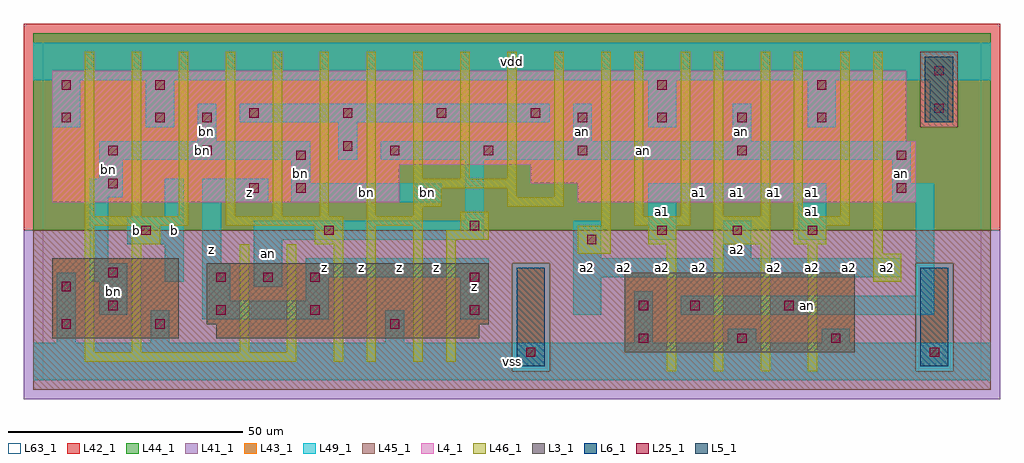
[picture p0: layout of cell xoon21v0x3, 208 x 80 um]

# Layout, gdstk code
import gdstk
lib = gdstk.Library(unit=1e-6, precision=1e-09)
def R(c, l, rs):  # rectangles x0, y0, x1, y1
    for r in rs: c.add(gdstk.rectangle(r[:2], r[2:], *l))
def A(c, l, x, y, w, h, nx, ny, dx, dy):  # array of equal rectangles
    R(c, l, [(x+i*dx, y+j*dy, x+i*dx+w, y+j*dy+h) for i in range(nx) for j in range(ny)])
L3_1 = (3, 1)
L4_1 = (4, 1)
L5_1 = (5, 1)
L6_1 = (6, 1)
L25_1 = (25, 1)
L41_1 = (41, 1)
L42_1 = (42, 1)
L43_1 = (43, 1)
L44_1 = (44, 1)
L45_1 = (45, 1)
L46_1 = (46, 1)
L49_1 = (49, 1)
L63_1 = (63, 1)

xoon21v0x3 = lib.new_cell('xoon21v0x3')
R(xoon21v0x3, L3_1, [(124,6,173,23), (2,9,29,26), (37,9,93,12), (35,12,95,25)])
R(xoon21v0x3, L4_1, [(2,38,76,46), (114,38,186,42), (104,42,186,46), (2,46,186,51), (2,51,184,66)])
R(xoon21v0x3, L5_1, [(188,55,194,69)])
R(xoon21v0x3, L6_1, [(101,3,107,24), (101,3,107,24), (187,3,193,24), (187,3,193,24)])
A(xoon21v0x3, L25_1, 37, 21, 2, 2, 3, 1, 10, 0)
A(xoon21v0x3, L25_1, 131, 31, 2, 2, 3, 1, 16, 0)
A(xoon21v0x3, L25_1, 74, 48, 2, 2, 3, 1, 20, 0)
A(xoon21v0x3, L25_1, 114, 55, 2, 2, 4, 1, 17, 0)
A(xoon21v0x3, L25_1, 44, 56, 2, 2, 4, 1, 20, 0)
R(xoon21v0x3, L25_1, [(103,5,105,7), (189,5,191,7), (127,8,129,10), (148,8,150,10), (168,8,170,10), (4,11,6,13), (24,11,26,13), (74,11,76,13), (37,14,39,16), (57,14,59,16), (91,14,93,16), (14,15,16,17), (127,15,129,17), (138,15,140,17), (158,15,160,17), (4,19,6,21), (91,21,93,23), (14,22,16,24), (179,23,181,25), (116,29,118,31), (21,31,23,33), (60,31,62,33), (91,32,93,34), (81,39,83,41), (44,40,46,42), (54,40,56,42), (182,40,184,42), (14,41,16,43), (54,47,56,49), (182,47,184,49), (14,48,16,50), (34,48,36,50), (148,48,150,50), (64,49,66,51), (4,55,6,57), (24,55,26,57), (34,55,36,57), (190,57,192,59), (4,62,6,64), (24,62,26,64), (131,62,133,64), (165,62,167,64), (190,65,192,67)])
R(xoon21v0x3, L41_1, [(-4,-4,204,32)])
R(xoon21v0x3, L42_1, [(-4,32,204,76)])
R(xoon21v0x3, L43_1, [(101,3,107,24), (187,3,193,24), (124,6,173,23), (2,9,29,26), (37,9,93,12), (35,12,95,25), (2,38,76,46), (114,38,186,42), (104,42,186,46), (2,46,186,51), (2,51,184,66), (188,55,194,69)])
R(xoon21v0x3, L44_1, [(100,2,108,25), (186,2,194,25), (-2,32,202,54), (-2,54,187,70), (195,54,202,70), (-2,70,202,74)])
R(xoon21v0x3, L45_1, [(-2,-2,202,2), (-2,2,100,25), (108,2,186,25), (194,2,202,25), (-2,25,202,32), (187,54,195,70)])
A(xoon21v0x3, L46_1, 133, 2, 2, 27, 4, 1, 10, 0)
A(xoon21v0x3, L46_1, 9, 35, 2, 35, 7, 1, 10, 0)
A(xoon21v0x3, L46_1, 79, 43, 2, 27, 3, 1, 10, 0)
R(xoon21v0x3, L46_1, [(9,4,54,6), (62,4,64,29), (69,4,71,33), (79,4,81,33), (86,4,88,30), (9,6,11,33), (19,6,21,29), (42,6,44,29), (52,6,54,29), (177,21,183,27), (114,27,121,33), (177,27,179,70), (19,29,25,33), (58,29,64,33), (129,29,135,33), (143,29,155,35), (160,29,167,33), (86,30,95,32), (89,32,95,36), (9,33,31,35), (39,33,64,35), (69,33,81,35), (119,33,121,70), (126,33,138,35), (160,33,172,35), (79,35,81,37), (126,35,128,70), (136,35,138,70), (143,35,145,70), (153,35,155,70), (160,35,162,70), (170,35,172,70), (79,37,85,41), (99,37,111,39), (99,39,101,41), (109,39,111,70), (79,41,101,43)])
R(xoon21v0x3, L49_1, [(-2,0,202,8), (3,8,7,23), (23,8,27,15), (73,8,77,15), (126,8,130,19), (146,8,152,11), (166,8,172,11), (34,13,61,17), (89,13,95,22), (12,14,18,21), (113,14,119,22), (136,14,190,18), (34,17,40,25), (56,17,61,22), (186,18,190,38), (45,20,51,30), (10,21,18,25), (26,21,30,29), (56,22,95,26), (113,22,183,26), (10,25,14,39), (34,25,38,38), (113,26,119,34), (145,26,151,34), (18,29,30,35), (45,30,94,34), (129,30,135,38), (161,30,167,38), (90,34,94,47), (26,35,30,43), (34,38,48,43), (53,38,85,42), (129,38,167,42), (181,38,190,42), (10,39,17,43), (53,42,57,47), (181,42,185,47), (12,43,17,47), (12,47,57,51), (63,47,67,55), (72,47,185,51), (33,51,37,59), (113,51,117,59), (147,51,151,59), (2,54,8,64), (22,54,28,64), (129,54,135,64), (163,54,169,64), (42,55,108,59), (189,55,193,64), (-2,64,202,72)])
R(xoon21v0x3, L63_1, [(0,0,200,72)])
xoon21v0x3.add(gdstk.Label('bn', (82,40), layer=49, texttype=1))
xoon21v0x3.add(gdstk.Label('bn', (15,19), layer=49, texttype=1))
xoon21v0x3.add(gdstk.Label('b', (20,32), layer=49, texttype=1))
xoon21v0x3.add(gdstk.Label('b', (28,32), layer=49, texttype=1))
xoon21v0x3.add(gdstk.Label('bn', (14,45), layer=49, texttype=1))
xoon21v0x3.add(gdstk.Label('bn', (35,53), layer=49, texttype=1))
xoon21v0x3.add(gdstk.Label('z', (60,24), layer=49, texttype=1))
xoon21v0x3.add(gdstk.Label('z', (68,24), layer=49, texttype=1))
xoon21v0x3.add(gdstk.Label('z', (76,24), layer=49, texttype=1))
xoon21v0x3.add(gdstk.Label('an', (48,27), layer=49, texttype=1))
xoon21v0x3.add(gdstk.Label('z', (36,28), layer=49, texttype=1))
xoon21v0x3.add(gdstk.Label('z', (44,40), layer=49, texttype=1))
xoon21v0x3.add(gdstk.Label('bn', (55,44), layer=49, texttype=1))
xoon21v0x3.add(gdstk.Label('bn', (34,49), layer=49, texttype=1))
xoon21v0x3.add(gdstk.Label('vss', (100,4), layer=49, texttype=1))
xoon21v0x3.add(gdstk.Label('a2', (116,24), layer=49, texttype=1))
xoon21v0x3.add(gdstk.Label('z', (84,24), layer=49, texttype=1))
xoon21v0x3.add(gdstk.Label('z', (92,20), layer=49, texttype=1))
xoon21v0x3.add(gdstk.Label('bn', (69,40), layer=49, texttype=1))
xoon21v0x3.add(gdstk.Label('an', (115,53), layer=49, texttype=1))
xoon21v0x3.add(gdstk.Label('vdd', (100,68), layer=49, texttype=1))
xoon21v0x3.add(gdstk.Label('a2', (124,24), layer=49, texttype=1))
xoon21v0x3.add(gdstk.Label('a2', (132,24), layer=49, texttype=1))
xoon21v0x3.add(gdstk.Label('a2', (140,24), layer=49, texttype=1))
xoon21v0x3.add(gdstk.Label('a2', (156,24), layer=49, texttype=1))
xoon21v0x3.add(gdstk.Label('a2', (148,28), layer=49, texttype=1))
xoon21v0x3.add(gdstk.Label('a1', (140,40), layer=49, texttype=1))
xoon21v0x3.add(gdstk.Label('a1', (148,40), layer=49, texttype=1))
xoon21v0x3.add(gdstk.Label('a1', (156,40), layer=49, texttype=1))
xoon21v0x3.add(gdstk.Label('a1', (132,36), layer=49, texttype=1))
xoon21v0x3.add(gdstk.Label('an', (149,53), layer=49, texttype=1))
xoon21v0x3.add(gdstk.Label('an', (163,16), layer=49, texttype=1))
xoon21v0x3.add(gdstk.Label('a2', (164,24), layer=49, texttype=1))
xoon21v0x3.add(gdstk.Label('a2', (172,24), layer=49, texttype=1))
xoon21v0x3.add(gdstk.Label('a2', (180,24), layer=49, texttype=1))
xoon21v0x3.add(gdstk.Label('a1', (164,36), layer=49, texttype=1))
xoon21v0x3.add(gdstk.Label('a1', (164,40), layer=49, texttype=1))
xoon21v0x3.add(gdstk.Label('an', (183,44), layer=49, texttype=1))
xoon21v0x3.add(gdstk.Label('an', (128,49), layer=49, texttype=1))

lib.write_gds('xoon21v0x3.gds')
